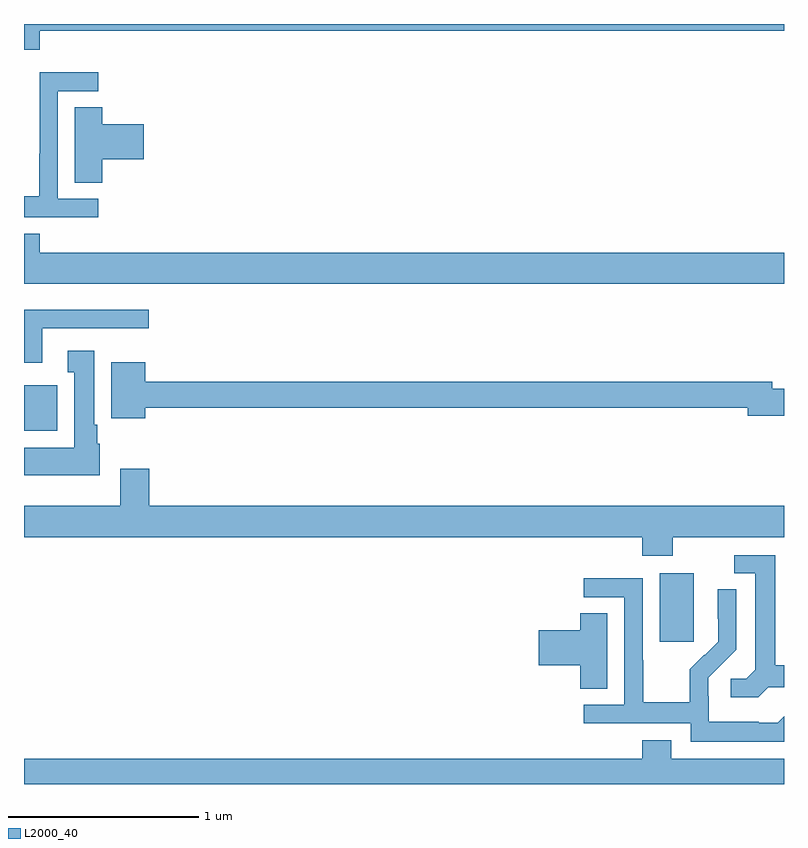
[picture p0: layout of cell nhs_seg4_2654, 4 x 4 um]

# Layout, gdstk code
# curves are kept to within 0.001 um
import gdstk
lib = gdstk.Library(unit=1e-6, precision=1e-09)
def R(c, l, rs):  # rectangles x0, y0, x1, y1
    for r in rs: c.add(gdstk.rectangle(r[:2], r[2:], *l))
def P(c, l, *ps):  # polygons
    for p in ps: c.add(gdstk.Polygon(p, *l))
L2000_40 = (2000, 40)

nhs_seg4_2654 = lib.new_cell('nhs_seg4_2654')
R(nhs_seg4_2654, L2000_40, [(254.345,749.649,254.524,750.01), (251,750.758,251.176,751)])
P(nhs_seg4_2654, L2000_40, [(251.084,752.864),(255,752.864),(255,752.9),(251,752.9),(251,752.765),(251.084,752.765)],
  [(251.392,751.98),(251.178,751.98),(251.178,752.547),(251.392,752.547),(251.392,752.646),(251.082,752.646),(251.082,752.216),(251.08,752.216),(251.08,751.993),(251,751.993),(251,751.884),(251.392,751.884)],
  [(251.411,752.189),(251.629,752.189),(251.629,752.372),(251.411,752.372),(251.411,752.462),(251.267,752.462),(251.267,752.065),(251.411,752.065)],
  [(255,751.696),(251.084,751.696),(251.084,751.795),(251,751.795),(251,751.532),(255,751.532)],
  [(251.095,751.299),(251.656,751.299),(251.656,751.396),(251,751.396),(251,751.118),(251.095,751.118)],
  [(251.398,750.69),(251.386,750.69),(251.386,750.79),(251.371,750.79),(251.371,751.18),(251.231,751.18),(251.231,751.067),(251.264,751.067),(251.264,750.67),(251,750.67),(251,750.524),(251.398,750.524)],
  [(251.638,750.88),(254.81,750.88),(254.81,750.838),(255,750.838),(255,750.98),(254.938,750.98),(254.938,751.016),(251.638,751.016),(251.638,751.12),(251.459,751.12),(251.459,750.824),(251.638,750.824)],
  [(254.415,750.2),(255,750.2),(255,750.364),(251.66,750.364),(251.66,750.559),(251.507,750.559),(251.507,750.364),(251,750.364),(251,750.2),(254.255,750.2),(254.255,750.101),(254.415,750.101)],
  [(254.916,749.409),(255,749.409),(255,749.525),(254.953,749.525),(254.953,750.105),(254.739,750.105),(254.739,750.009),(254.849,750.009),(254.849,749.501),(254.802,749.454),(254.721,749.454),(254.721,749.357),(254.864,749.357)],
  [(255,749.256),(254.967,749.223),(254.867,749.223),(254.867,749.227),(254.604,749.227),(254.604,749.361),(254.602,749.361),(254.602,749.458),(254.748,749.606),(254.748,749.924),(254.652,749.924),(254.652,749.77),(254.654,749.77),(254.654,749.648),(254.583,749.577),(254.58,749.58),(254.503,749.503),(254.503,749.329),(254.259,749.329),(254.259,749.552),(254.256,749.552),(254.256,749.982),(253.947,749.982),(253.947,749.883),(254.16,749.883),(254.16,749.316),(253.947,749.316),(253.947,749.22),(254.508,749.22),(254.508,749.123),(255,749.123)],
  [(254.071,749.798),(253.928,749.798),(253.928,749.708),(253.71,749.708),(253.71,749.525),(253.928,749.525),(253.928,749.401),(254.071,749.401)],
  [(255,749.032),(254.407,749.032),(254.407,749.131),(254.255,749.131),(254.255,749.032),(251,749.032),(251,748.9),(255,748.9)])

lib.write_gds('nhs_seg4_2654.gds')
